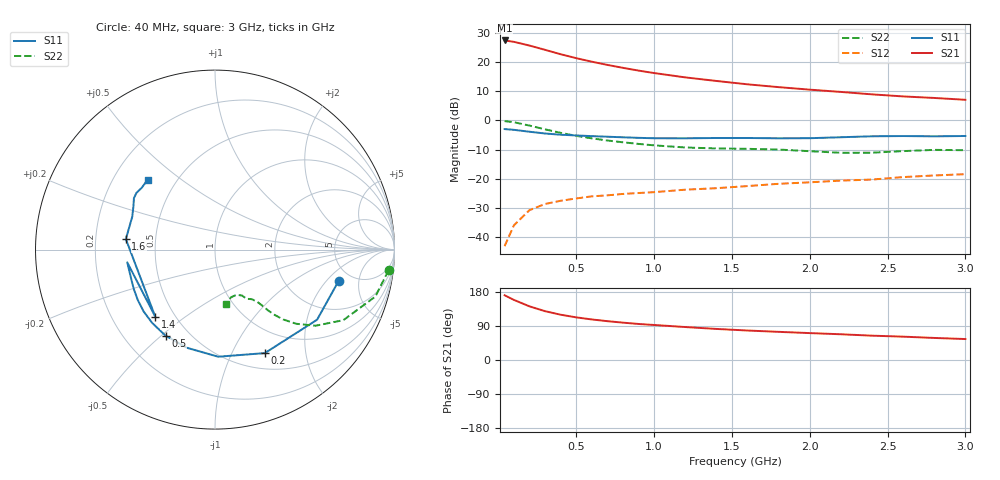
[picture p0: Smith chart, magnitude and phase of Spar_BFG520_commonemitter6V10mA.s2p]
! Filename:  BFG520I.S2P  Version:  2.1
! NXP part #: BFG520  Date: Feb 1992
! Bias condition: Vce=6V, Ic=10mA
! IN LINE PINNING: same data as with cross emitter pinning.
#  MHz  S  MA  R  50
! Freq  S11  S21  S12  S22  !GUM [dB]
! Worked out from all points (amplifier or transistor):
!   21 points, 40 MHz to 3 GHz, reference 50 ohm
!   highest |S21| = 27.4 dB at 40 MHz (marker M1)
!   |S21| within 3 dB of that: start of sweep to 285.2 MHz
!   unconditionally stable (mu >= 1): 1.301 GHz to end of sweep
!   at 300 MHz: K = 0.31, MSG = 26.4 dB, |S12| = -28.6 dB
!   at 1 GHz: K = 0.86, MSG = 20.4 dB, |S12| = -24.6 dB
!   at 3 GHz: K = 1.24, MAG = 9.8 dB, |S12| = -18.4 dB
!   lowest NFmin = 1.10 dB at 500 MHz
!   S11 on the Smith chart (normalised r, x): 40 MHz: 3.91, -2.74; 200 MHz: 0.69, -1.35; 500 MHz: 0.37, -0.52; 1.4 GHz: 0.39, -0.39; 1.6 GHz: 0.33, +0.05; 3 GHz: 0.35, +0.38
40  0.711 -14.1  23.47 170.8  0.007 82.3  0.974 -6.8
100  0.69 -34.5  22.22 158.5  0.016 74.0  0.931 -16.3
200  0.64 -64.3  19.18 141.5  0.029 62.4  0.816 -28.8
300  0.597 -88.3  16.21 128.8  0.037 54.2  0.703 -37.1
400  0.569 -106.1  13.63 119.5  0.042 50.9  0.613 -42.4
500  0.553 -119.9  11.67 112.5  0.046 48.6  0.544 -45.7
600  0.538 -130.7  10.15 107.0  0.05 47.2  0.493 -47.6
700  0.526 -139.2  8.947 102.5  0.052 47.1  0.453 -48.8
800  0.514 -146.7  7.968 98.6  0.055 47.9  0.422 -49.5
900  0.503 -154.1  7.148 95.1  0.057 48.8  0.396 -50.2
1000  0.495 -160.2  6.488 92.4  0.059 49.7  0.374 -51.1
1200  0.494 -171.7  5.468 87.0  0.065 51.3  0.344 -53.4
1400  0.5 -131.8  4.748 82.0  0.069 52.5  0.331 -56.1
1600  0.5 173.3  4.159 77.8  0.075 55.2  0.326 -57.3
1800  0.494 166.0  3.722 74.3  0.082 56.4  0.317 -57.9
2000  0.496 158.4  3.368 71.0  0.087 58.2  0.297 -59.5
2200  0.515 151.9  3.08 67.9  0.093 59.0  0.279 -64.4
2400  0.535 147.6  2.798 64.2  0.097 60.7  0.28 -71.4
2600  0.54 144.2  2.579 61.6  0.107 61.3  0.298 -76.3
2800  0.534 139.8  2.428 58.2  0.114 60.9  0.313 -77.7
3000  0.541 133.9  2.259 55.3  0.12 62.3  0.309 -78.3
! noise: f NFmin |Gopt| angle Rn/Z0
500  1.1  0.33  27  0.25
900  1.25  0.294  48  0.26
1000  1.3  0.298  52  0.27
2000  1.9  0.242  134  0.16
